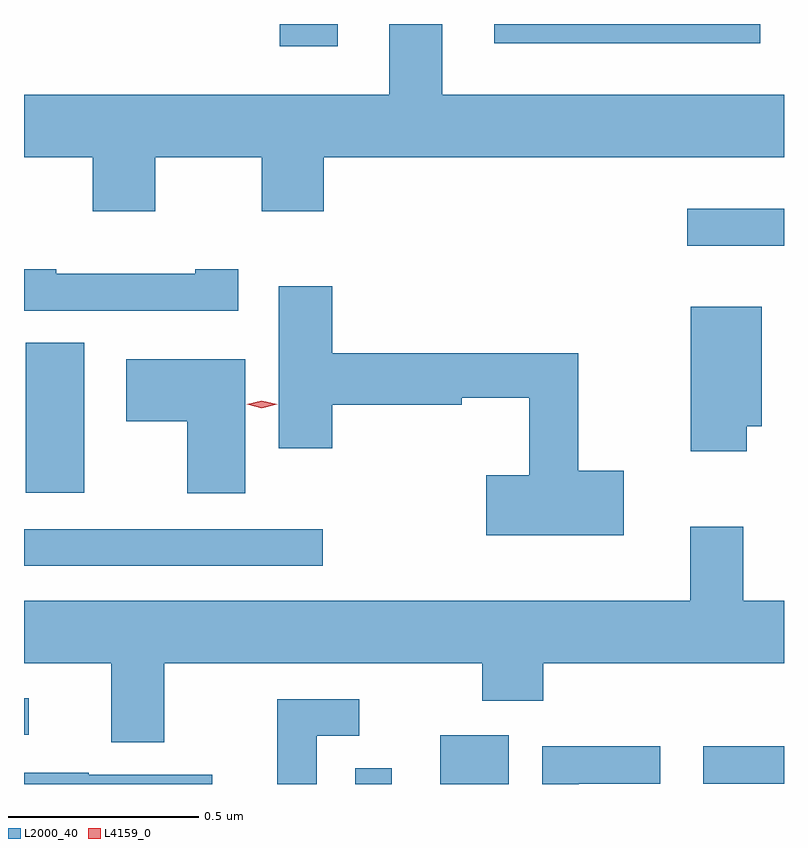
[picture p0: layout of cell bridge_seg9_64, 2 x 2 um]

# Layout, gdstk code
import gdstk
lib = gdstk.Library(unit=1e-6, precision=1e-09)
def R(c, l, rs):  # rectangles x0, y0, x1, y1
    for r in rs: c.add(gdstk.rectangle(r[:2], r[2:], *l))
def P(c, l, *ps):  # polygons
    for p in ps: c.add(gdstk.Polygon(p, *l))
L2000_40 = (2000, 40)
L4159_0 = (4159, 0)

bridge_seg9_64 = lib.new_cell('bridge_seg9_64')
R(bridge_seg9_64, L2000_40, [(1083.978,1205.426,1084.074,1205.468), (1084.202,1205.426,1084.381,1205.554), (1084.893,1205.427,1085.106,1205.526), (1083.106,1205.556,1083.118,1205.652), (1083.106,1206,1083.892,1206.096), (1083.11,1206.192,1083.265,1206.587), (1084.851,1206.843,1085.106,1206.94), (1083.779,1207.368,1083.931,1207.426), (1084.343,1207.376,1085.044,1207.426)])
P(bridge_seg9_64, L2000_40, [(1084.067,1207.426),(1084.067,1207.24),(1083.106,1207.24),(1083.106,1207.076),(1083.287,1207.076),(1083.287,1206.933),(1083.451,1206.933),(1083.451,1207.076),(1083.731,1207.076),(1083.731,1206.933),(1083.895,1206.933),(1083.895,1207.076),(1085.106,1207.076),(1085.106,1207.24),(1084.207,1207.24),(1084.207,1207.426)],
  [(1083.67,1206.781),(1083.557,1206.781),(1083.557,1206.769),(1083.191,1206.769),(1083.191,1206.781),(1083.106,1206.781),(1083.106,1206.672),(1083.67,1206.672)],
  [(1084.684,1206.251),(1084.564,1206.251),(1084.564,1206.56),(1083.917,1206.56),(1083.917,1206.736),(1083.776,1206.736),(1083.776,1206.309),(1083.917,1206.309),(1083.917,1206.424),(1084.258,1206.424),(1084.258,1206.443),(1084.435,1206.443),(1084.435,1206.238),(1084.323,1206.238),(1084.323,1206.08),(1084.684,1206.08)],
  [(1085.008,1206.368),(1085.047,1206.368),(1085.047,1206.682),(1084.861,1206.682),(1084.861,1206.302),(1085.008,1206.302)],
  [(1083.688,1206.544),(1083.375,1206.544),(1083.375,1206.38),(1083.536,1206.38),(1083.536,1206.191),(1083.688,1206.191)],
  [(1083.475,1205.744),(1084.312,1205.744),(1084.312,1205.645),(1084.472,1205.645),(1084.472,1205.744),(1085.106,1205.744),(1085.106,1205.908),(1084.999,1205.908),(1084.999,1206.103),(1084.859,1206.103),(1084.859,1205.908),(1083.106,1205.908),(1083.106,1205.744),(1083.335,1205.744),(1083.335,1205.536),(1083.475,1205.536)],
  [(1083.877,1205.553),(1083.988,1205.553),(1083.988,1205.649),(1083.773,1205.649),(1083.773,1205.426),(1083.877,1205.426)],
  [(1084.566,1205.427),(1084.78,1205.427),(1084.78,1205.526),(1084.47,1205.526),(1084.47,1205.426),(1084.566,1205.426)],
  [(1083.601,1205.451),(1083.277,1205.451),(1083.277,1205.455),(1083.106,1205.455),(1083.106,1205.426),(1083.601,1205.426)])
P(bridge_seg9_64, L4159_0, [(1083.732,1206.415),(1083.692,1206.425),(1083.692,1206.425),(1083.692,1206.425),(1083.732,1206.435),(1083.772,1206.425),(1083.772,1206.425),(1083.772,1206.425)])

lib.write_gds('bridge_seg9_64.gds')
